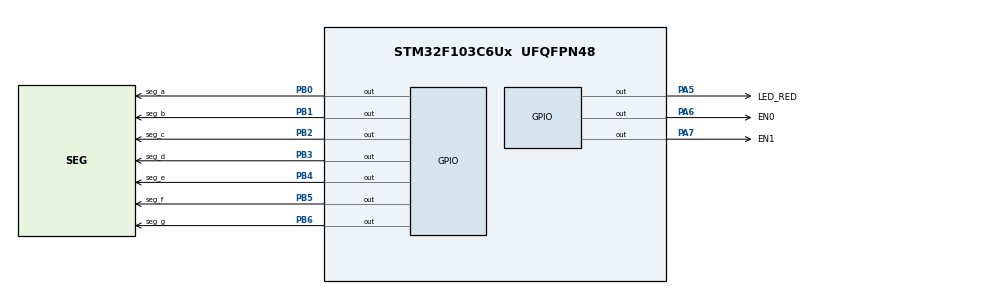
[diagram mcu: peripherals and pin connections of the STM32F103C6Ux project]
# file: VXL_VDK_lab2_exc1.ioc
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Mcu.Family=STM32F1
Mcu.Name=STM32F103C6Ux
Mcu.Package=UFQFPN48
NVIC.PriorityGroup=NVIC_PRIORITYGROUP_4
NVIC.TIM2_IRQn=true\:0\:0\:false\:false\:true\:true\:true\:true
PA5.GPIO_Label=LED_RED
PA5.Signal=GPIO_Output
PA6.GPIO_Label=EN0
PA6.Signal=GPIO_Output
PA7.GPIO_Label=EN1
PA7.Signal=GPIO_Output
PB0.GPIO_Label=seg_a
PB0.Signal=GPIO_Output
PB1.GPIO_Label=seg_b
PB1.Signal=GPIO_Output
PB2.GPIO_Label=seg_c
PB2.Signal=GPIO_Output
PB3.GPIO_Label=seg_d
PB3.Signal=GPIO_Output
PB4.GPIO_Label=seg_e
PB4.Signal=GPIO_Output
PB5.GPIO_Label=seg_f
PB5.Signal=GPIO_Output
PB6.GPIO_Label=seg_g
PB6.Signal=GPIO_Output
ProjectManager.HeapSize=0x200
ProjectManager.StackSize=0x400
ProjectManager.TargetToolchain=STM32CubeIDE
RCC.APB1Freq_Value=8000000
RCC.APB2Freq_Value=8000000
TIM2.Period=9
TIM2.Prescaler=7999
VP_SYS_VS_ND.Mode=No_Debug
VP_TIM2_VS_ClockSourceINT.Mode=Internal
board=custom

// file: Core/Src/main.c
/* USER CODE BEGIN Header */
/**
  ******************************************************************************
  * @file           : main.c
  * @brief          : Main program body
  ******************************************************************************
  * @attention
  *
  * Copyright (c) 2025 STMicroelectronics.
  * All rights reserved.
  *
  * This software is licensed under terms that can be found in the LICENSE file
  * in the root directory of this software component.
  * If no LICENSE file comes with this software, it is provided AS-IS.
  *
  ******************************************************************************
  */
/* USER CODE END Header */
#include "main.h"
#include "tim.h"
#include "gpio.h"

void SystemClock_Config(void);

/* USER CODE BEGIN 0 */
uint8_t led7_table[10][7] =    {{0,0,0,0,0,0,1},
								{1,0,0,1,1,1,1},
								{0,0,1,0,0,1,0},
								{0,0,0,0,1,1,0},
								{1,0,0,1,1,0,0},
								{0,1,0,0,1,0,0},
								{0,1,0,0,0,0,0},
								{0,0,0,1,1,1,1},
								{0,0,0,0,0,0,0},
								{0,0,0,0,1,0,0}};
uint16_t EN_PIN[2] = {
    EN0_Pin,
    EN1_Pin
//    EN2_Pin,
//    EN3_Pin,
};
void display7SEG(int num,int led){
	HAL_GPIO_WritePin(EN0_GPIO_Port, EN_PIN[0], SET);
	HAL_GPIO_WritePin(EN0_GPIO_Port, EN_PIN[1], SET);

	HAL_GPIO_WritePin(seg_a_GPIO_Port, seg_a_Pin, led7_table[num][0]);
	HAL_GPIO_WritePin(seg_b_GPIO_Port, seg_b_Pin, led7_table[num][1]);
	HAL_GPIO_WritePin(seg_c_GPIO_Port, seg_c_Pin, led7_table[num][2]);
	HAL_GPIO_WritePin(seg_g_GPIO_Port, seg_d_Pin, led7_table[num][3]);
	HAL_GPIO_WritePin(seg_f_GPIO_Port, seg_e_Pin, led7_table[num][4]);
	HAL_GPIO_WritePin(seg_e_GPIO_Port, seg_f_Pin, led7_table[num][5]);
	HAL_GPIO_WritePin(seg_d_GPIO_Port, seg_g_Pin, led7_table[num][6]);
	HAL_GPIO_WritePin(EN0_GPIO_Port, EN_PIN[led], RESET);
}
int counter = 50;
int seg_state = 0;
 void HAL_TIM_PeriodElapsedCallback(TIM_HandleTypeDef *htim)
 {
	 if(counter >= 50){
		 HAL_GPIO_TogglePin(LED_RED_GPIO_Port, LED_RED_Pin);
		 display7SEG(1, 0);
		 seg_state = 0;
	 }
	 if(counter <= 0){
		 display7SEG(2, 1);
		 seg_state = 1;
	 }
	 if(seg_state){
		 ++counter;
	 }
	 else
	 {
		 --counter;
	 }

 }
/* USER CODE END 0 */

int main(void)
{

  /* MCU Configuration--------------------------------------------------------*/

  /* Reset of all peripherals, Initializes the Flash interface and the Systick. */
  HAL_Init();

  /* Configure the system clock */
  SystemClock_Config();

  /* Initialize all configured peripherals */
  MX_GPIO_Init();
  MX_TIM2_Init();
  /* USER CODE BEGIN 2 */
  HAL_TIM_Base_Start_IT(&htim2);
  HAL_GPIO_WritePin(LED_RED_GPIO_Port, LED_RED_Pin, RESET);
  display7SEG(1, 0);
  /* USER CODE END 2 */

  /* Infinite loop */
  while (1)
  {

  }
}

void SystemClock_Config(void)
{
  RCC_OscInitTypeDef RCC_OscInitStruct = {0};
  RCC_ClkInitTypeDef RCC_ClkInitStruct = {0};

  /** Initializes the RCC Oscillators according to the specified parameters
  * in the RCC_OscInitTypeDef structure.
  */
  RCC_OscInitStruct.OscillatorType = RCC_OSCILLATORTYPE_HSI;
  RCC_OscInitStruct.HSIState = RCC_HSI_ON;
  RCC_OscInitStruct.HSICalibrationValue = RCC_HSICALIBRATION_DEFAULT;
  RCC_OscInitStruct.PLL.PLLState = RCC_PLL_NONE;
  if (HAL_RCC_OscConfig(&RCC_OscInitStruct) != HAL_OK)
  {
    Error_Handler();
  }

  /** Initializes the CPU, AHB and APB buses clocks
  */
  RCC_ClkInitStruct.ClockType = RCC_CLOCKTYPE_HCLK|RCC_CLOCKTYPE_SYSCLK
                              |RCC_CLOCKTYPE_PCLK1|RCC_CLOCKTYPE_PCLK2;
  RCC_ClkInitStruct.SYSCLKSource = RCC_SYSCLKSOURCE_HSI;
  RCC_ClkInitStruct.AHBCLKDivider = RCC_SYSCLK_DIV1;
  RCC_ClkInitStruct.APB1CLKDivider = RCC_HCLK_DIV1;
  RCC_ClkInitStruct.APB2CLKDivider = RCC_HCLK_DIV1;

  if (HAL_RCC_ClockConfig(&RCC_ClkInitStruct, FLASH_LATENCY_0) != HAL_OK)
  {
    Error_Handler();
  }
}

void Error_Handler(void)
{
  __disable_irq();
  while (1)
  {
  }
}
